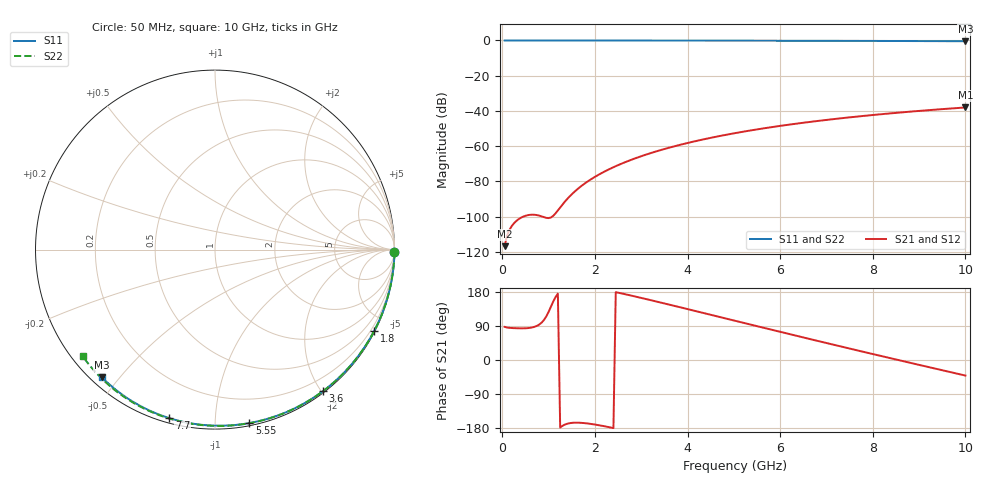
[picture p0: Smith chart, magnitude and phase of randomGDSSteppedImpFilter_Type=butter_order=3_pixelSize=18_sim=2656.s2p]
! freq	dB(S11)	phase(S11)	dB(S12)	phase(S12)
!  dB(S21)	phase(S21)	dB(S22)	phase(S22)
!S-par simulation data
#  GHz  S  DB  R 50
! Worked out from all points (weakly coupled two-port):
!   200 points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, 50 MHz to 10 GHz, reference 50 ohm
!   highest |S21| = -38.03 dB at 10 GHz (marker M1); lowest = -116.8 dB at 50 MHz (marker M2)
!   lowest |S11| = -0.4 dB at 10 GHz (marker M3), VSWR 39.29, Z = 1.53 - j22.5 ohm
!   |S11| at or under -10 dB: nowhere
!   |S22| runs from -0.5 to 0.0 dB; largest |S21 - S12| = 0
!   S11 on the Smith chart (normalised r, x): 50 MHz: open; 1.8 GHz: 0.04, -4.17; 3.6 GHz: 0.02, -2.02; 5.55 GHz: 0.02, -1.22; 7.7 GHz: 0.02, -0.76; 10 GHz: 0.03, -0.45
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0.05  -0.00 -0.8  -116.77 87.4  -116.77 87.4  -0.00 -0.8
0.45  -0.01 -6.8  -100.01 83.5  -100.01 83.5  -0.01 -7.3
0.9  -0.02 -13.6  -100.31 105.7  -100.31 105.7  -0.02 -14.6
1.75  -0.03 -26.2  -81.77 -166.3  -81.77 -166.3  -0.04 -28.1
1.8  -0.03 -27.0  -80.82 -166.9  -80.82 -166.9  -0.04 -28.9
1.85  -0.04 -27.7  -79.92 -167.6  -79.92 -167.6  -0.04 -29.7
2  -0.04 -29.9  -77.43 -170.3  -77.43 -170.3  -0.04 -32.0
2.15  -0.04 -32.1  -75.20 -173.5  -75.20 -173.5  -0.04 -34.4
2.35  -0.04 -35.0  -72.55 -178.4  -72.55 -178.4  -0.05 -37.5
2.55  -0.05 -37.9  -70.20 176.4  -70.20 176.4  -0.05 -40.6
2.95  -0.06 -43.6  -66.16 165.3  -66.16 165.3  -0.06 -46.7
3.4  -0.07 -50.0  -62.37 152.2  -62.37 152.2  -0.07 -53.5
3.6  -0.07 -52.7  -60.88 146.3  -60.88 146.3  -0.08 -56.4
4.3  -0.09 -62.3  -56.39 125.4  -56.39 125.4  -0.09 -66.7
5.05  -0.11 -72.3  -52.49 102.8  -52.49 102.8  -0.12 -77.3
5.55  -0.13 -78.8  -50.27 87.8  -50.27 87.8  -0.14 -84.2
6.1  -0.15 -85.7  -48.12 71.4  -48.12 71.4  -0.16 -91.6
6.7  -0.18 -93.2  -46.04 53.6  -46.04 53.6  -0.19 -99.5
7.7  -0.24 -105.2  -43.10 24.4  -43.10 24.4  -0.26 -112.4
8.35  -0.29 -112.8  -41.45 5.6  -41.45 5.6  -0.31 -120.6
9.2  -0.36 -122.5  -39.57 -18.6  -39.57 -18.6  -0.39 -131.1
10  -0.44 -131.5  -38.03 -41.1  -38.03 -41.1  -0.47 -141.0
